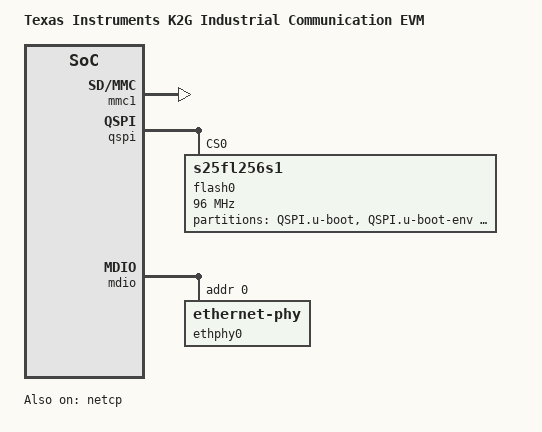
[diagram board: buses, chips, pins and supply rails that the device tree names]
/*
 * Copyright 2016 Texas Instruments, Inc.
 *
 * K2G Industrial Communication Engine EVM device tree
 *
 * This program is free software; you can redistribute it and/or modify
 * it under the terms of the GNU General Public License version 2 as
 * published by the Free Software Foundation.
 */
/dts-v1/;

#include "k2g.dtsi"
#include <dt-bindings/net/ti-dp83867.h>

/ {
	compatible = "ti,k2g-ice", "ti,k2g", "ti,keystone";
	model = "Texas Instruments K2G Industrial Communication EVM";

	chosen {
		stdout-path = &uart0;
	};
};

&mmc1 {
	status = "okay";
};

&qspi {
	status = "okay";

	flash0: m25p80@0 {
		compatible = "s25fl256s1","spi-flash";
		reg = <0>;
		spi-tx-bus-width = <1>;
		spi-rx-bus-width = <4>;
		spi-max-frequency = <96000000>;
		#address-cells = <1>;
		#size-cells = <1>;
		tshsl-ns = <392>;
		tsd2d-ns = <392>;
		tchsh-ns = <100>;
		tslch-ns = <100>;
		block-size = <16>;

		partition@0 {
			label = "QSPI.u-boot";
			reg = <0x00000000 0x00100000>;
		};
		partition@1 {
			label = "QSPI.u-boot-env";
			reg = <0x00100000 0x00040000>;
		};
		partition@2 {
			label = "QSPI.skern";
			reg = <0x00140000 0x0040000>;
		};
		partition@3 {
			label = "QSPI.pmmc-firmware";
			reg = <0x00180000 0x0040000>;
		};
		partition@4 {
			label = "QSPI.kernel";
			reg = <0x001c0000 0x0800000>;
		};
		partition@5 {
			label = "QSPI.u-boot-spl-os";
			reg = <0x009c0000 0x0040000>;
		};
		partition@6 {
			label = "QSPI.file-system";
			reg = <0x00a00000 0x1600000>;
		};
	};
};

&netcp {
	status = "okay";
};

&mdio {
	status = "okay";
	ethphy0: ethernet-phy@0 {
		reg = <0>;
		ti,rx-internal-delay = <DP83867_RGMIIDCTL_2_25_NS>;
		ti,fifo-depth = <DP83867_PHYCR_FIFO_DEPTH_8_B_NIB>;
		ti,min-output-impedance;
	};
};

&gbe0 {
	phy-handle = <&ethphy0>;
	phy-mode = "rgmii-rxid";
};
